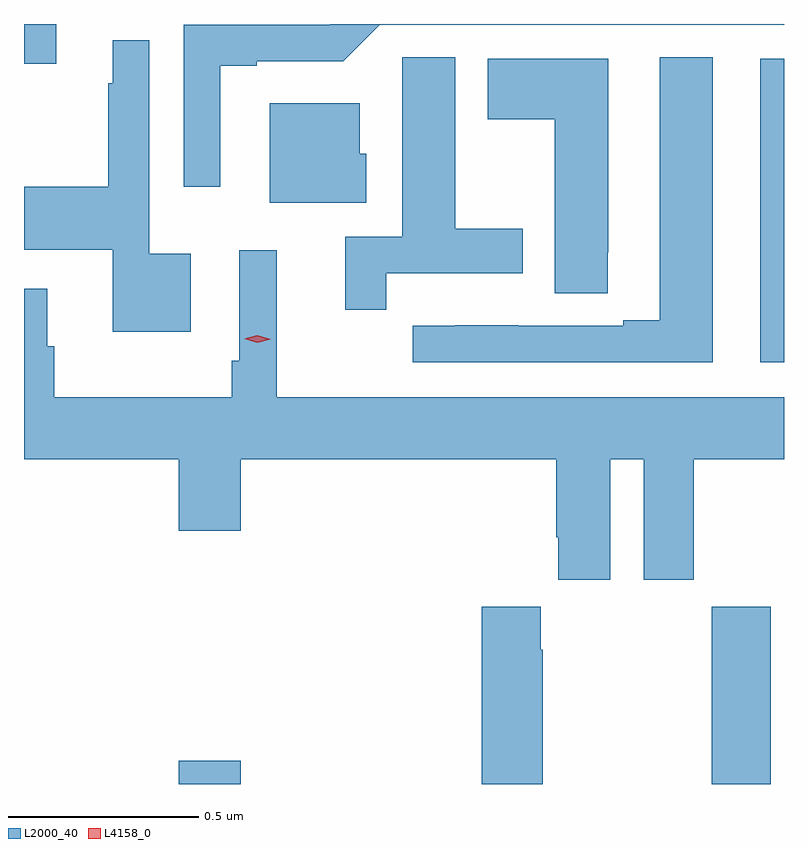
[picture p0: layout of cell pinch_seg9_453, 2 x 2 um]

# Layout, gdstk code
import gdstk
lib = gdstk.Library(unit=1e-6, precision=1e-09)
def R(c, l, rs):  # rectangles x0, y0, x1, y1
    for r in rs: c.add(gdstk.rectangle(r[:2], r[2:], *l))
def P(c, l, *ps):  # polygons
    for p in ps: c.add(gdstk.Polygon(p, *l))
L2000_40 = (2000, 40)
L4158_0 = (4158, 0)

pinch_seg9_453 = lib.new_cell('pinch_seg9_453')
R(pinch_seg9_453, L2000_40, [(141.032,1212.882,141.196,1212.943), (142.435,1212.882,142.59,1213.348), (142.562,1213.992,142.625,1214.79), (140.625,1214.778,140.71,1214.882)])
P(pinch_seg9_453, L2000_40, [(141.142,1214.772),(141.238,1214.772),(141.238,1214.784),(141.465,1214.784),(141.561,1214.88),(142.625,1214.88),(142.625,1214.882),(141.431,1214.882),(141.429,1214.88),(141.045,1214.88),(141.045,1214.454),(141.142,1214.454)],
  [(141.064,1214.278),(140.955,1214.278),(140.955,1214.839),(140.858,1214.839),(140.858,1214.726),(140.847,1214.726),(140.847,1214.454),(140.625,1214.454),(140.625,1214.288),(140.858,1214.288),(140.858,1214.072),(141.064,1214.072)],
  [(142.438,1214.795),(142.298,1214.795),(142.298,1214.103),(142.202,1214.103),(142.202,1214.088),(141.926,1214.088),(141.926,1214.089),(141.76,1214.089),(141.76,1214.088),(141.648,1214.088),(141.648,1213.992),(142.438,1213.992)],
  [(141.578,1214.226),(141.937,1214.226),(141.937,1214.343),(141.76,1214.343),(141.76,1214.795),(141.621,1214.795),(141.621,1214.684),(141.62,1214.684),(141.62,1214.322),(141.47,1214.322),(141.47,1214.13),(141.578,1214.13)],
  [(142.161,1214.281),(142.162,1214.281),(142.162,1214.791),(141.845,1214.791),(141.845,1214.632),(142.022,1214.632),(142.022,1214.173),(142.161,1214.173)],
  [(141.526,1214.541),(141.508,1214.541),(141.508,1214.674),(141.272,1214.674),(141.272,1214.411),(141.526,1214.411)],
  [(142.168,1213.736),(142.256,1213.736),(142.256,1213.419),(142.387,1213.419),(142.387,1213.736),(142.625,1213.736),(142.625,1213.9),(141.29,1213.9),(141.29,1214.287),(141.192,1214.287),(141.192,1213.996),(141.172,1213.996),(141.172,1213.9),(140.705,1213.9),(140.705,1214.034),(140.686,1214.034),(140.686,1214.185),(140.625,1214.185),(140.625,1213.736),(141.032,1213.736),(141.032,1213.548),(141.196,1213.548),(141.196,1213.736),(142.025,1213.736),(142.025,1213.531),(142.031,1213.531),(142.031,1213.419),(142.168,1213.419)],
  [(141.99,1213.235),(141.985,1213.235),(141.985,1213.348),(141.83,1213.348),(141.83,1212.882),(141.99,1212.882)])
P(pinch_seg9_453, L4158_0, [(141.239,1214.043),(141.204,1214.054),(141.203,1214.054),(141.204,1214.054),(141.239,1214.063),(141.274,1214.052),(141.274,1214.052),(141.274,1214.052)])

lib.write_gds('pinch_seg9_453.gds')
